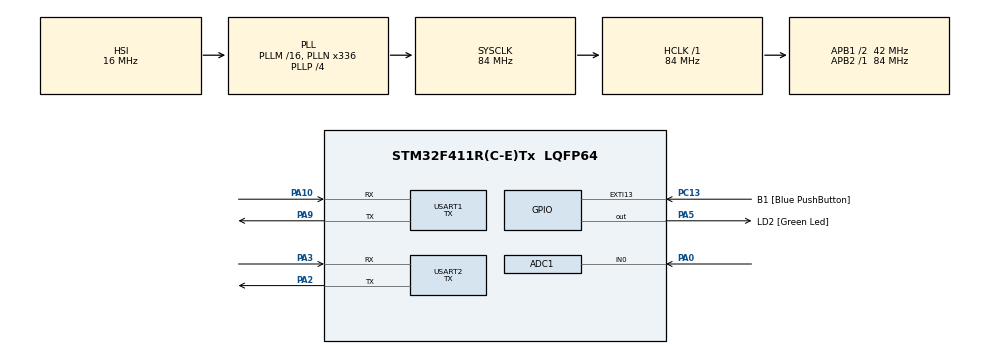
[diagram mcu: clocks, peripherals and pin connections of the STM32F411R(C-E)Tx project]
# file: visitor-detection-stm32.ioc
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Mcu.Family=STM32F4
PC15-OSC32_OUT.Mode=LSE-External-Oscillator
RCC.CortexFreq_Value=84000000
ADC1.Rank-0\#ChannelRegularConversion=1
PA10.Mode=Asynchronous
PC13-ANTI_TAMP.GPIO_Label=B1 [Blue PushButton]
PA14.GPIO_Label=TCK
PH1\ -\ OSC_OUT.Mode=HSE-External-Clock-Source
RCC.APB1CLKDivider=RCC_HCLK_DIV2
PC14-OSC32_IN.Signal=RCC_OSC32_IN
RCC.SYSCLKSource=RCC_SYSCLKSOURCE_PLLCLK
ProjectManager.StackSize=0x400
PA0-WKUP.Signal=ADCx_IN0
PA13.Signal=SYS_JTMS-SWDIO
PA3.Mode=Asynchronous
PA9.Mode=Asynchronous
PH0\ -\ OSC_IN.Mode=HSE-External-Clock-Source
PH0\ -\ OSC_IN.Signal=RCC_OSC_IN
ProjectManager.TargetToolchain=STM32CubeIDE
RCC.HCLKFreq_Value=84000000
RCC.APB2TimFreq_Value=84000000
PA9.Signal=USART1_TX
PC15-OSC32_OUT.Signal=RCC_OSC32_OUT
RCC.AHBFreq_Value=84000000
PA5.Signal=GPIO_Output
ADC1.Channel-0\#ChannelRegularConversion=ADC_CHANNEL_0
RCC.HSE_VALUE=8000000
PH1\ -\ OSC_OUT.Signal=RCC_OSC_OUT
board=NUCLEO-F411RE
PC13-ANTI_TAMP.Signal=GPXTI13
RCC.VCOOutputFreq_Value=336000000
RCC.APB2Freq_Value=84000000
PC14-OSC32_IN.Mode=LSE-External-Oscillator
USART1.Mode=MODE_TX
PA14.Mode=Serial_Wire
SH.ADCx_IN0.0=ADC1_IN0,IN0
PA13.Mode=Serial_Wire
Mcu.Name=STM32F411R(C-E)Tx
ADC1.SamplingTime-0\#ChannelRegularConversion=ADC_SAMPLETIME_3CYCLES
PA2.Signal=USART2_TX
PA13.GPIO_Label=TMS
RCC.FLatency-AdvancedSettings=FLASH_LATENCY_2
RCC.48MHZClocksFreq_Value=84000000
PB3.Signal=SYS_JTDO-SWO
RCC.SYSCLKFreq_VALUE=84000000
Mcu.Package=LQFP64
ADC1.master=1
PA5.GPIO_Label=LD2 [Green Led]
USART2.VirtualMode=VM_ASYNC
USART1.VirtualMode=VM_ASYNC
PC13-ANTI_TAMP.GPIO_ModeDefaultEXTI=GPIO_MODE_IT_FALLING
PA10.Signal=USART1_RX
PA14.Signal=SYS_JTCK-SWCLK
ProjectManager.HeapSize=0x200
RCC.HSI_VALUE=16000000
RCC.PLLP=RCC_PLLP_DIV4
NVIC.PriorityGroup=NVIC_PRIORITYGROUP_0
ADC1.NbrOfConversionFlag=1
RCC.PLLN=336
RCC.APB1TimFreq_Value=84000000
PA2.Mode=Asynchronous
RCC.APB1Freq_Value=42000000
USART2.Mode=MODE_TX
PA3.Signal=USART2_RX
PB3.GPIO_Label=SWO

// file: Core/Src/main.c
/* USER CODE BEGIN Header */
/**
  ******************************************************************************
  * @file           : main.c
  * @brief          : Main program body
  ******************************************************************************
  * @attention
  *
  * <h2><center>&copy; Copyright (c) 2021 STMicroelectronics.
  * All rights reserved.</center></h2>
  *
  * This software component is licensed by ST under BSD 3-Clause license,
  * the "License"; You may not use this file except in compliance with the
  * License. You may obtain a copy of the License at:
  *                        opensource.org/licenses/BSD-3-Clause
  *
  ******************************************************************************
  */
/* USER CODE END Header */
#include "main.h"

ADC_HandleTypeDef hadc1;

UART_HandleTypeDef huart1;
UART_HandleTypeDef huart2;

void SystemClock_Config(void);
static void MX_GPIO_Init(void);
static void MX_ADC1_Init(void);
static void MX_USART1_UART_Init(void);
static void MX_USART2_UART_Init(void);

int main(void)
{

  /* MCU Configuration--------------------------------------------------------*/

  /* Reset of all peripherals, Initializes the Flash interface and the Systick. */
  HAL_Init();

  /* Configure the system clock */
  SystemClock_Config();

  /* Initialize all configured peripherals */
  MX_GPIO_Init();
  MX_ADC1_Init();
  MX_USART1_UART_Init();
  MX_USART2_UART_Init();

  /* USER CODE BEGIN 2 */

  	 uint32_t Vinfr;
     // Read The Sensor Once To Get The Infrared Level

     HAL_ADC_Start(&hadc1);
     HAL_ADC_PollForConversion(&hadc1, 1);
     Vinfr = HAL_ADC_GetValue(&hadc1);

     char vbuffer[32];
     char buffer[] = "A";

     uint32_t VinfrAvg = 0;
     uint32_t n = 0;
     uint32_t threshold = 100;
     char displaybuffer[64];

  /* USER CODE END 2 */

  /* Infinite loop */
  while (1)
  {

    /* USER CODE BEGIN 3 */

	  // Start ADC Conversion
	  HAL_ADC_Start(&hadc1);
	  // Poll ADC1 Perihperal & TimeOut = 1mSec
	  HAL_ADC_PollForConversion(&hadc1, 1);
	  // Read The ADC Conversion Result
	  Vinfr = HAL_ADC_GetValue(&hadc1);

	  //Find avg Vinfr at the beginning
	  if(n == 0){
		  sprintf(displaybuffer, "Starting...\r\n", VinfrAvg);
		  HAL_UART_Transmit(&huart2, displaybuffer, strlen(displaybuffer), 1000);
		  n++;
	  }else if(n < 10){
		  VinfrAvg += Vinfr;
		  n++;
	  }else if(n == 10){
		  VinfrAvg += Vinfr;
		  VinfrAvg /= n;
		  sprintf(displaybuffer, "Vinfr Avg: %lu\r\n", VinfrAvg);
		  HAL_UART_Transmit(&huart2, displaybuffer, strlen(displaybuffer), 1000);
		  sprintf(displaybuffer, "Threshold: %lu\r\n", threshold);
		  HAL_UART_Transmit(&huart2, displaybuffer, strlen(displaybuffer), 1000);
		  n++;
	  }

	  //Transmit Vinfr to serial via UART2
	  sprintf(vbuffer, "%lu\r\n", Vinfr);
	  HAL_UART_Transmit(&huart2, vbuffer, strlen(vbuffer), 1000);

	  sprintf(displaybuffer, "SENSOR DETECTED\r\n");

	  //Transmit Vinfr to NodeMCU via UART1
	  if( Vinfr < threshold ){
		  HAL_UART_Transmit(&huart1, buffer, strlen(buffer), 1000);
		  HAL_UART_Transmit(&huart2, displaybuffer, strlen(displaybuffer), 1000);
		  HAL_GPIO_TogglePin(GPIOA, GPIO_PIN_5);
		  HAL_Delay(5000);
	  }else HAL_Delay(200);

  }
  /* USER CODE END 3 */
}

void SystemClock_Config(void)
{
  RCC_OscInitTypeDef RCC_OscInitStruct = {0};
  RCC_ClkInitTypeDef RCC_ClkInitStruct = {0};

  /** Configure the main internal regulator output voltage
  */
  __HAL_RCC_PWR_CLK_ENABLE();
  __HAL_PWR_VOLTAGESCALING_CONFIG(PWR_REGULATOR_VOLTAGE_SCALE1);
  /** Initializes the RCC Oscillators according to the specified parameters
  * in the RCC_OscInitTypeDef structure.
  */
  RCC_OscInitStruct.OscillatorType = RCC_OSCILLATORTYPE_HSI;
  RCC_OscInitStruct.HSIState = RCC_HSI_ON;
  RCC_OscInitStruct.HSICalibrationValue = RCC_HSICALIBRATION_DEFAULT;
  RCC_OscInitStruct.PLL.PLLState = RCC_PLL_ON;
  RCC_OscInitStruct.PLL.PLLSource = RCC_PLLSOURCE_HSI;
  RCC_OscInitStruct.PLL.PLLM = 16;
  RCC_OscInitStruct.PLL.PLLN = 336;
  RCC_OscInitStruct.PLL.PLLP = RCC_PLLP_DIV4;
  RCC_OscInitStruct.PLL.PLLQ = 4;
  if (HAL_RCC_OscConfig(&RCC_OscInitStruct) != HAL_OK)
  {
    Error_Handler();
  }
  /** Initializes the CPU, AHB and APB buses clocks
  */
  RCC_ClkInitStruct.ClockType = RCC_CLOCKTYPE_HCLK|RCC_CLOCKTYPE_SYSCLK
                              |RCC_CLOCKTYPE_PCLK1|RCC_CLOCKTYPE_PCLK2;
  RCC_ClkInitStruct.SYSCLKSource = RCC_SYSCLKSOURCE_PLLCLK;
  RCC_ClkInitStruct.AHBCLKDivider = RCC_SYSCLK_DIV1;
  RCC_ClkInitStruct.APB1CLKDivider = RCC_HCLK_DIV2;
  RCC_ClkInitStruct.APB2CLKDivider = RCC_HCLK_DIV1;

  if (HAL_RCC_ClockConfig(&RCC_ClkInitStruct, FLASH_LATENCY_2) != HAL_OK)
  {
    Error_Handler();
  }
}

static void MX_ADC1_Init(void)
{

  ADC_ChannelConfTypeDef sConfig = {0};

  /** Configure the global features of the ADC (Clock, Resolution, Data Alignment and number of conversion)
  */
  hadc1.Instance = ADC1;
  hadc1.Init.ClockPrescaler = ADC_CLOCK_SYNC_PCLK_DIV4;
  hadc1.Init.Resolution = ADC_RESOLUTION_12B;
  hadc1.Init.ScanConvMode = DISABLE;
  hadc1.Init.ContinuousConvMode = DISABLE;
  hadc1.Init.DiscontinuousConvMode = DISABLE;
  hadc1.Init.ExternalTrigConvEdge = ADC_EXTERNALTRIGCONVEDGE_NONE;
  hadc1.Init.ExternalTrigConv = ADC_SOFTWARE_START;
  hadc1.Init.DataAlign = ADC_DATAALIGN_RIGHT;
  hadc1.Init.NbrOfConversion = 1;
  hadc1.Init.DMAContinuousRequests = DISABLE;
  hadc1.Init.EOCSelection = ADC_EOC_SINGLE_CONV;
  if (HAL_ADC_Init(&hadc1) != HAL_OK)
  {
    Error_Handler();
  }
  /** Configure for the selected ADC regular channel its corresponding rank in the sequencer and its sample time.
  */
  sConfig.Channel = ADC_CHANNEL_0;
  sConfig.Rank = 1;
  sConfig.SamplingTime = ADC_SAMPLETIME_3CYCLES;
  if (HAL_ADC_ConfigChannel(&hadc1, &sConfig) != HAL_OK)
  {
    Error_Handler();
  }

}

static void MX_USART1_UART_Init(void)
{

  huart1.Instance = USART1;
  huart1.Init.BaudRate = 115200;
  huart1.Init.WordLength = UART_WORDLENGTH_8B;
  huart1.Init.StopBits = UART_STOPBITS_1;
  huart1.Init.Parity = UART_PARITY_NONE;
  huart1.Init.Mode = UART_MODE_TX;
  huart1.Init.HwFlowCtl = UART_HWCONTROL_NONE;
  huart1.Init.OverSampling = UART_OVERSAMPLING_16;
  if (HAL_UART_Init(&huart1) != HAL_OK)
  {
    Error_Handler();
  }

}

static void MX_USART2_UART_Init(void)
{

  huart2.Instance = USART2;
  huart2.Init.BaudRate = 115200;
  huart2.Init.WordLength = UART_WORDLENGTH_8B;
  huart2.Init.StopBits = UART_STOPBITS_1;
  huart2.Init.Parity = UART_PARITY_NONE;
  huart2.Init.Mode = UART_MODE_TX;
  huart2.Init.HwFlowCtl = UART_HWCONTROL_NONE;
  huart2.Init.OverSampling = UART_OVERSAMPLING_16;
  if (HAL_UART_Init(&huart2) != HAL_OK)
  {
    Error_Handler();
  }

}

static void MX_GPIO_Init(void)
{
  GPIO_InitTypeDef GPIO_InitStruct = {0};

  /* GPIO Ports Clock Enable */
  __HAL_RCC_GPIOC_CLK_ENABLE();
  __HAL_RCC_GPIOH_CLK_ENABLE();
  __HAL_RCC_GPIOA_CLK_ENABLE();
  __HAL_RCC_GPIOB_CLK_ENABLE();

  /*Configure GPIO pin Output Level */
  HAL_GPIO_WritePin(LD2_GPIO_Port, LD2_Pin, GPIO_PIN_RESET);

  /*Configure GPIO pin : B1_Pin */
  GPIO_InitStruct.Pin = B1_Pin;
  GPIO_InitStruct.Mode = GPIO_MODE_IT_FALLING;
  GPIO_InitStruct.Pull = GPIO_NOPULL;
  HAL_GPIO_Init(B1_GPIO_Port, &GPIO_InitStruct);

  /*Configure GPIO pin : LD2_Pin */
  GPIO_InitStruct.Pin = LD2_Pin;
  GPIO_InitStruct.Mode = GPIO_MODE_OUTPUT_PP;
  GPIO_InitStruct.Pull = GPIO_NOPULL;
  GPIO_InitStruct.Speed = GPIO_SPEED_FREQ_LOW;
  HAL_GPIO_Init(LD2_GPIO_Port, &GPIO_InitStruct);

}

void Error_Handler(void)
{
  __disable_irq();
  while (1)
  {
  }
}

/************************ (C) COPYRIGHT STMicroelectronics *****END OF FILE****/
